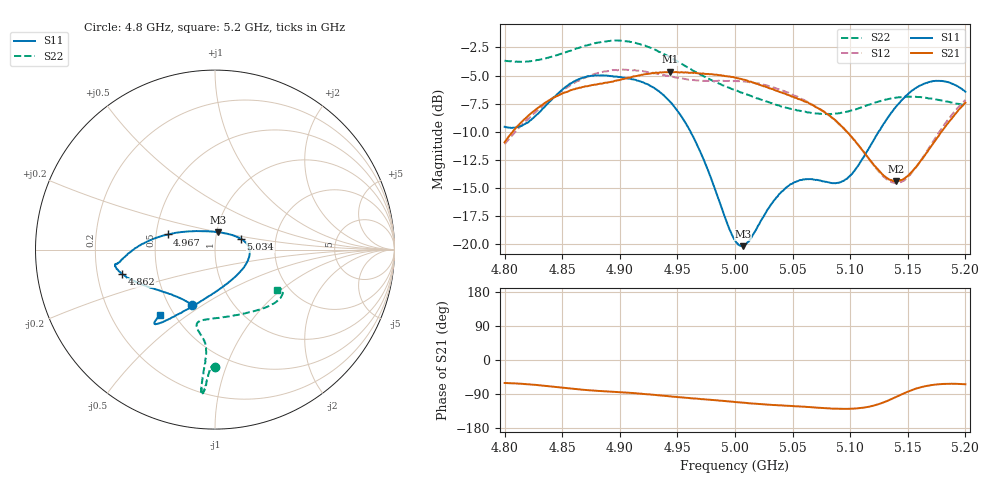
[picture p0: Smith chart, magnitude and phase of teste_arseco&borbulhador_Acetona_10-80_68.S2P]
! Network Analyzer HP8722D
! Hewlett-Packard
! Data name: Linha & Wilkinson
! Saver's name: Rodrigo Anjos
! Comments: Teste da utilização de aquisição
! continua pelo VNA HP8722D
! Time and date: 17/4/2025 14:55
!  Frequency  S11  S21  S12  S22
# HZ  S  MA R 50
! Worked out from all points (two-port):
!   401 points, 4.8 GHz to 5.2 GHz, reference 50 ohm
!   highest |S21| = -4.66 dB at 4.944 GHz (marker M1); lowest = -14.4 dB at 5.14 GHz (marker M2)
!   |S21| within 3 dB of the highest: 4.832 GHz to 5.068 GHz (236.1 MHz wide, 4.77 % of centre); 5.197831 GHz to end of sweep
!   lowest |S11| = -20.2 dB at 5.007 GHz (marker M3), VSWR 1.22, Z = 50.9 + j9.9 ohm
!   |S11| at or under -10 dB: 4.961 GHz to 5.125 GHz (163.2 MHz wide, 3.24 % of centre)
!   |S22| runs from -8.4 to -1.9 dB; largest |S21 - S12| = 0.87
!   S11 on the Smith chart (normalised r, x): 4.8 GHz: 0.65, -0.45; 4.862 GHz: 0.31, -0.12; 4.967 GHz: 0.57, +0.10; 5.034 GHz: 1.33, +0.16; 5.2 GHz: 0.42, -0.40
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4.8e9  0.3331 -112.9  0.2842 -60.6  0.2785 -174.9  0.6554 -89.8
4.819e9  0.3461 -132.8  0.3664 -63.9  0.3549 -173.2  0.6503 -91.4
4.862e9  0.5352 -165.2  0.4928 -76.7  0.5272 -176.4  0.7414 -93.7
4.867e9  0.5482 -167.2  0.4993 -78.3  0.542 -177.4  0.7553 -93.7
4.899e9  0.554 -171.8  0.5364 -84.8  0.5961 175.8  0.8047 -95.1
4.934e9  0.4789 -177.7  0.5793 -93.2  0.5716 172.1  0.7175 -95.6
4.944e9  0.4288 177.7  0.5851 -96.1  0.5563 172.0  0.6772 -95.3
4.967e9  0.2774 162.3  0.5769 -101.9  0.5351 174.1  0.5786 -94.9
5e9  0.1044 103.7  0.5505 -110.9  0.534 176.3  0.4843 -99.0
5.007e9  0.09804 79.4  0.5399 -112.7  0.5296 176.5  0.4697 -100.7
5.014e9  0.1065 57.8  0.5282 -114.7  0.5266 176.2  0.4568 -102.2
5.034e9  0.157 22.5  0.4855 -119.0  0.4974 175.1  0.4196 -103.6
5.05e9  0.1864 6.0  0.4537 -121.7  0.4617 174.5  0.3989 -99.8
5.067e9  0.1947 -12.3  0.4168 -124.6  0.4182 173.8  0.3832 -91.1
5.087e9  0.1867 -44.2  0.3566 -128.4  0.3534 173.7  0.3814 -75.9
5.097e9  0.1951 -65.0  0.3172 -129.0  0.3163 174.5  0.3888 -67.6
5.134e9  0.3732 -115.7  0.1937 -105.5  0.1906 -158.4  0.4435 -42.9
5.14e9  0.4106 -119.3  0.1906 -97.2  0.1878 -148.9  0.4488 -40.3
5.152e9  0.4741 -124.3  0.2064 -81.1  0.2034 -130.5  0.453 -35.9
5.17e9  0.5287 -128.4  0.2714 -66.5  0.2762 -112.6  0.4449 -31.8
5.184e9  0.5273 -129.7  0.3417 -63.0  0.3533 -107.1  0.4311 -30.8
5.2e9  0.4766 -130.1  0.4258 -64.0  0.4386 -106.1  0.415 -33.1
